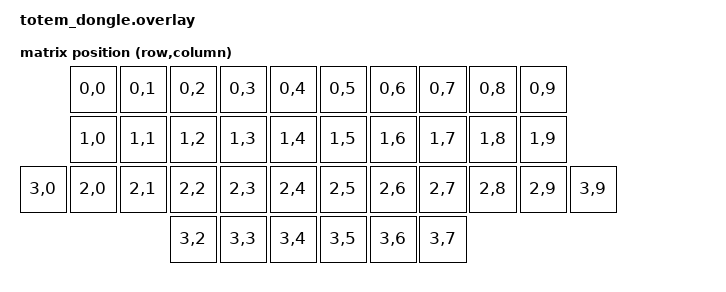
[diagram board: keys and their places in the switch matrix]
/*
 * Copyright (c) 2022 The ZMK Contributors
 * SPDX-License-Identifier: MIT
 *
 * totem_dongle — central shield for the Makerdiary nRF52840 MDK USB Dongle.
 *
 * The dongle has no keys of its own.  It acts as the BLE split central,
 * aggregating key events from totem_left_peripheral and totem_right, and
 * forwarding them to the host as USB HID.
 *
 * We deliberately do NOT include totem.dtsi here because that file references
 * &xiao_d GPIO aliases that do not exist on this board.  Instead we reproduce
 * the matrix transform and substitute a mock kscan.
 *
 * LED GPIO assignments and flash partition layout come directly from the
 * Makerdiary board DTS (nrf52840_mdk_usb_dongle_nrf52840_zmk.dts) — no
 * overrides needed here.
 */

#include <dt-bindings/zmk/matrix_transform.h>
#include "totem-layouts.dtsi"

/ {
    chosen {
        zmk,kscan = &kscan0;
        zmk,physical-layout = &totem_layout;
    };

    /*
     * Full 38-key Totem matrix transform — must match the layout known by the
     * peripherals so that key-position combos resolve correctly on the central.
     */
    default_transform: keymap_transform_0 {
        compatible = "zmk,matrix-transform";
        columns = <10>;
        rows = <4>;
//             | SW01  | SW02  | SW03  | SW04  | SW05  |  | SW05  | SW04  | SW03  | SW02  | SW01  |
//             | SW06  | SW07  | SW08  | SW09  | SW10  |  | SW10  | SW09  | SW08  | SW07  | SW06  |
//      | SW16 | SW11  | SW12  | SW13  | SW14  | SW15  |  | SW15  | SW14  | SW13  | SW12  | SW11  | SW16  |
//                             | SW17  | SW18  | SW19  |  | SW19  | SW18  | SW17  |
        map = <
                RC(0,0) RC(0,1) RC(0,2) RC(0,3) RC(0,4)    RC(0,5) RC(0,6) RC(0,7) RC(0,8) RC(0,9)
                RC(1,0) RC(1,1) RC(1,2) RC(1,3) RC(1,4)    RC(1,5) RC(1,6) RC(1,7) RC(1,8) RC(1,9)
        RC(3,0) RC(2,0) RC(2,1) RC(2,2) RC(2,3) RC(2,4)    RC(2,5) RC(2,6) RC(2,7) RC(2,8) RC(2,9) RC(3,9)
                                RC(3,2) RC(3,3) RC(3,4)    RC(3,5) RC(3,6) RC(3,7)
        >;
    };

    /* No physical keys on the dongle — mock scanner produces no events. */
    kscan0: kscan_0 {
        compatible = "zmk,kscan-mock";
        events = <>;
    };
};
